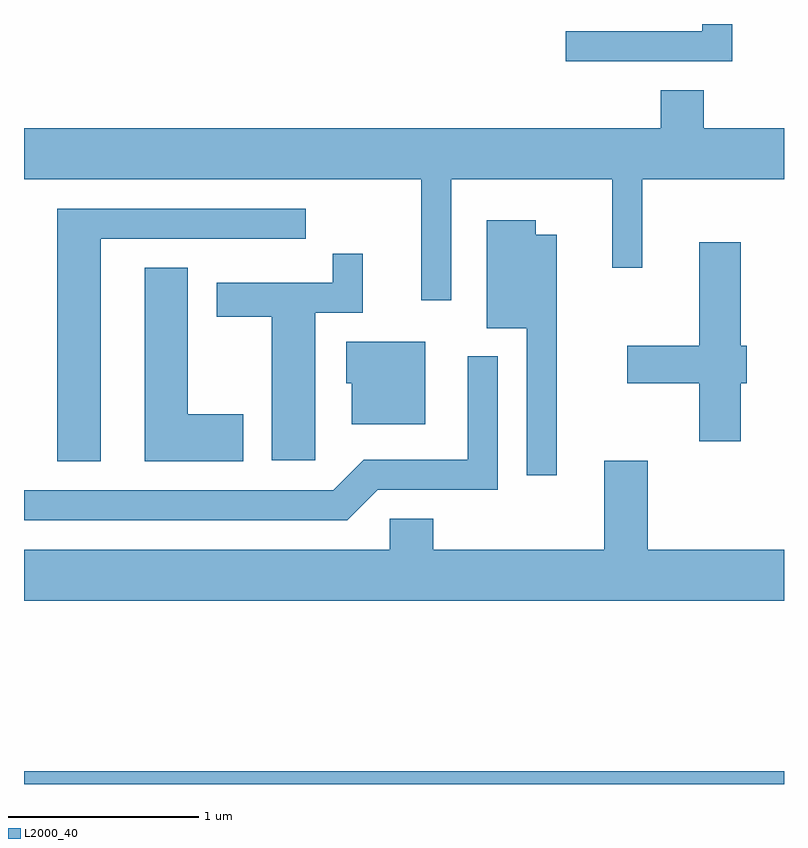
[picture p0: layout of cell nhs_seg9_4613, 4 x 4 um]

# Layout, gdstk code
import gdstk
lib = gdstk.Library(unit=1e-6, precision=1e-09)
def R(c, l, rs):  # rectangles x0, y0, x1, y1
    for r in rs: c.add(gdstk.rectangle(r[:2], r[2:], *l))
def P(c, l, *ps):  # polygons
    for p in ps: c.add(gdstk.Polygon(p, *l))
L2000_40 = (2000, 40)

nhs_seg9_4613 = lib.new_cell('nhs_seg9_4613')
R(nhs_seg9_4613, L2000_40, [(321.611,1966.432,325.611,1966.499)])
P(nhs_seg9_4613, L2000_40, [(325.339,1970.432),(325.181,1970.432),(325.181,1970.394),(324.463,1970.394),(324.463,1970.236),(325.339,1970.236)],
  [(323.859,1969.616),(324.706,1969.616),(324.706,1969.148),(324.864,1969.148),(324.864,1969.616),(325.611,1969.616),(325.611,1969.884),(325.189,1969.884),(325.189,1970.084),(324.961,1970.084),(324.961,1969.884),(321.611,1969.884),(321.611,1969.616),(323.701,1969.616),(323.701,1968.978),(323.859,1968.978)],
  [(322.014,1969.301),(323.093,1969.301),(323.093,1969.459),(321.786,1969.459),(321.786,1968.131),(322.014,1968.131)],
  [(324.414,1969.324),(324.304,1969.324),(324.304,1969.399),(324.046,1969.399),(324.046,1968.831),(324.256,1968.831),(324.256,1968.058),(324.414,1968.058)],
  [(325.384,1968.541),(325.414,1968.541),(325.414,1968.739),(325.384,1968.739),(325.384,1969.284),(325.166,1969.284),(325.166,1968.739),(324.786,1968.739),(324.786,1968.541),(325.166,1968.541),(325.166,1968.236),(325.384,1968.236)],
  [(323.144,1968.911),(323.394,1968.911),(323.394,1969.223),(323.236,1969.223),(323.236,1969.069),(322.626,1969.069),(322.626,1968.891),(322.916,1968.891),(322.916,1968.136),(323.144,1968.136)],
  [(322.764,1968.379),(322.474,1968.379),(322.474,1969.149),(322.246,1969.149),(322.246,1968.131),(322.764,1968.131)],
  [(323.724,1968.759),(323.306,1968.759),(323.306,1968.541),(323.336,1968.541),(323.336,1968.326),(323.724,1968.326)],
  [(323.472,1967.981),(324.104,1967.981),(324.104,1968.683),(323.946,1968.683),(323.946,1968.139),(323.399,1968.139),(323.239,1967.979),(321.611,1967.979),(321.611,1967.821),(323.312,1967.821)],
  [(325.611,1967.664),(324.894,1967.664),(324.894,1968.134),(324.666,1968.134),(324.666,1967.664),(323.764,1967.664),(323.764,1967.829),(323.536,1967.829),(323.536,1967.664),(321.611,1967.664),(321.611,1967.396),(325.611,1967.396)])

lib.write_gds('nhs_seg9_4613.gds')
